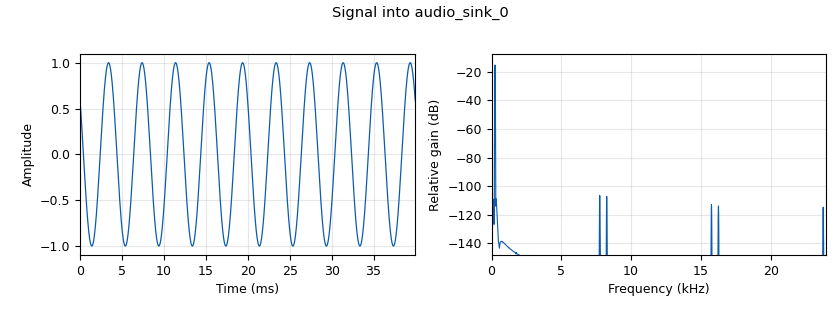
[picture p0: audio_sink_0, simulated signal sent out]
<?xml version='1.0' encoding='utf-8'?>
<?grc format='1' created='3.7.10'?>
<flow_graph>
<block>
<key>options</key>
<param><key>id</key><value>top_block</value></param>
<param><key>category</key><value>Custom</value></param>
<param><key>generate_options</key><value>qt_gui</value></param>
</block>
<block>
<key>variable_qtgui_range</key>
<param><key>id</key><value>Freq</value></param>
<param><key>value</key><value>1000</value></param>
<param><key>label</key><value>frequency</value></param>
<param><key>orient</key><value>Qt.Horizontal</value></param>
<param><key>start</key><value>0</value></param>
<param><key>step</key><value>1</value></param>
<param><key>stop</key><value>4000</value></param>
<param><key>rangeType</key><value>int</value></param>
</block>
<block>
<key>variable</key>
<param><key>id</key><value>samp_rate</value></param>
<param><key>value</key><value>32000</value></param>
</block>
<block>
<key>analog_sig_source_x</key>
<param><key>id</key><value>analog_sig_source_x_0</value></param>
<param><key>amp</key><value>1</value></param>
<param><key>freq</key><value>Freq</value></param>
<param><key>offset</key><value>0</value></param>
<param><key>type</key><value>float</value></param>
<param><key>samp_rate</key><value>samp_rate</value></param>
<param><key>waveform</key><value>analog.GR_COS_WAVE</value></param>
</block>
<block>
<key>audio_sink</key>
<param><key>id</key><value>audio_sink_0</value></param>
<param><key>samp_rate</key><value>48*10**3</value></param>
</block>
<block>
<key>blocks_multiply_const_vxx</key>
<param><key>id</key><value>blocks_multiply_const_vxx_0</value></param>
<param><key>const</key><value>1</value></param>
<param><key>type</key><value>float</value></param>
</block>
<block>
<key>blocks_throttle</key>
<param><key>id</key><value>blocks_throttle_0</value></param>
<param><key>samples_per_second</key><value>samp_rate</value></param>
<param><key>type</key><value>float</value></param>
</block>
<block>
<key>rational_resampler_xxx</key>
<param><key>id</key><value>rational_resampler_xxx_0</value></param>
<param><key>decim</key><value>8*10**3</value></param>
<param><key>interp</key><value>48000</value></param>
<param><key>taps</key><value></value></param>
<param><key>type</key><value>fff</value></param>
</block>
<connection><source_block_id>analog_sig_source_x_0</source_block_id><sink_block_id>blocks_throttle_0</sink_block_id><source_key>0</source_key><sink_key>0</sink_key></connection>
<connection><source_block_id>blocks_multiply_const_vxx_0</source_block_id><sink_block_id>audio_sink_0</sink_block_id><source_key>0</source_key><sink_key>0</sink_key></connection>
<connection><source_block_id>blocks_throttle_0</source_block_id><sink_block_id>rational_resampler_xxx_0</sink_block_id><source_key>0</source_key><sink_key>0</sink_key></connection>
<connection><source_block_id>rational_resampler_xxx_0</source_block_id><sink_block_id>blocks_multiply_const_vxx_0</sink_block_id><source_key>0</source_key><sink_key>0</sink_key></connection>
</flow_graph>
